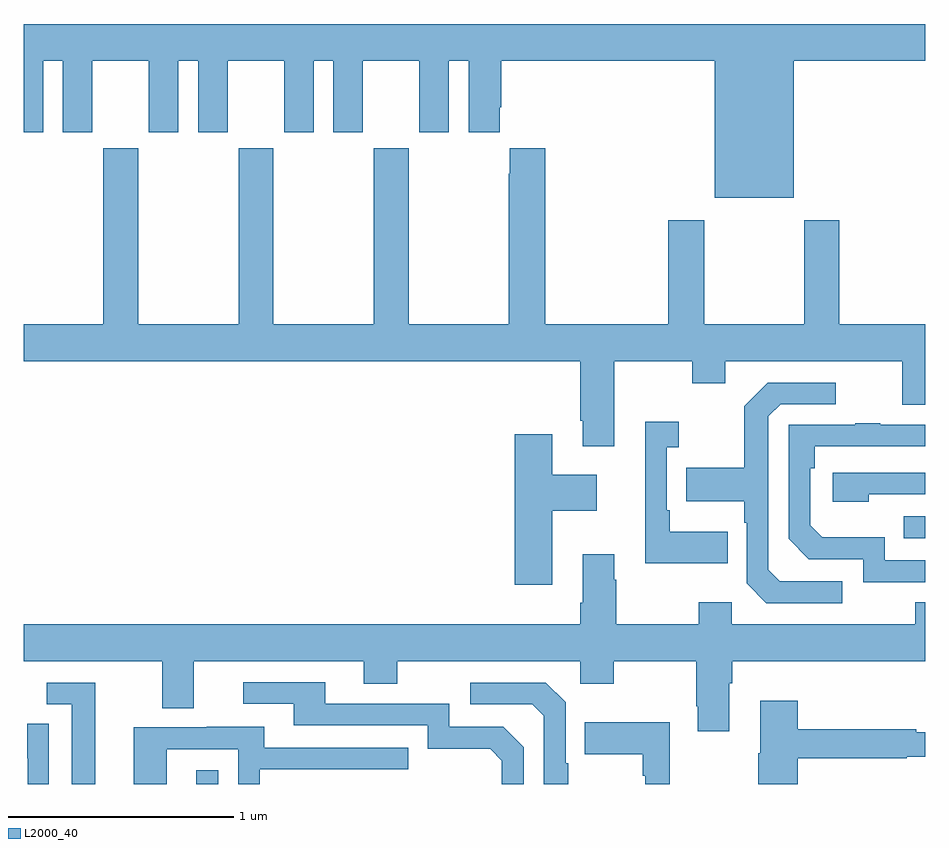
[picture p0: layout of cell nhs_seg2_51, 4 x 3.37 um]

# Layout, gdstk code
import gdstk
lib = gdstk.Library(unit=1e-6, precision=1e-09)
def R(c, l, rs):  # rectangles x0, y0, x1, y1
    for r in rs: c.add(gdstk.rectangle(r[:2], r[2:], *l))
def P(c, l, *ps):  # polygons
    for p in ps: c.add(gdstk.Polygon(p, *l))
L2000_40 = (2000, 40)

nhs_seg2_51 = lib.new_cell('nhs_seg2_51')
R(nhs_seg2_51, L2000_40, [(113.765,605.8,113.862,605.86), (116.905,606.891,117,606.987)])
P(nhs_seg2_51, L2000_40, [(116.416,609.008),(117,609.008),(117,609.172),(113,609.172),(113,608.691),(113.086,608.691),(113.086,609.008),(113.174,609.008),(113.174,608.691),(113.305,608.691),(113.305,609.008),(113.555,609.008),(113.555,608.691),(113.686,608.691),(113.686,609.008),(113.774,609.008),(113.774,608.691),(113.905,608.691),(113.905,609.008),(114.155,609.008),(114.155,608.691),(114.286,608.691),(114.286,609.008),(114.374,609.008),(114.374,608.691),(114.505,608.691),(114.505,609.008),(114.755,609.008),(114.755,608.691),(114.886,608.691),(114.886,609.008),(114.974,609.008),(114.974,608.691),(115.111,608.691),(115.111,608.803),(115.118,608.803),(115.118,609.008),(116.066,609.008),(116.066,608.402),(116.416,608.402)],
  [(115.621,607.676),(115.966,607.676),(115.966,607.577),(116.113,607.577),(116.113,607.676),(116.897,607.676),(116.897,607.482),(117,607.482),(117,607.84),(116.619,607.84),(116.619,608.302),(116.464,608.302),(116.464,607.84),(116.019,607.84),(116.019,608.302),(115.859,608.302),(115.859,607.84),(115.313,607.84),(115.313,608.62),(115.157,608.62),(115.157,608.507),(115.153,608.507),(115.153,607.84),(114.708,607.84),(114.708,608.62),(114.553,608.62),(114.553,607.84),(114.108,607.84),(114.108,608.62),(113.953,608.62),(113.953,607.84),(113.508,607.84),(113.508,608.62),(113.353,608.62),(113.353,607.84),(113,607.84),(113,607.676),(115.469,607.676),(115.469,607.411),(115.481,607.411),(115.481,607.299),(115.621,607.299)],
  [(116.632,606.699),(116.355,606.699),(116.304,606.75),(116.304,607.431),(116.358,607.485),(116.602,607.485),(116.602,607.581),(116.301,607.581),(116.196,607.475),(116.196,607.203),(115.939,607.203),(115.939,607.055),(116.196,607.055),(116.196,606.959),(116.208,606.959),(116.208,606.69),(116.295,606.603),(116.632,606.603)],
  [(116.123,606.919),(115.867,606.919),(115.867,607.015),(115.854,607.015),(115.854,607.295),(115.906,607.295),(115.906,607.408),(115.757,607.408),(115.757,606.779),(116.123,606.779)],
  [(117,606.792),(116.82,606.792),(116.82,606.895),(116.543,606.895),(116.49,606.948),(116.49,607.202),(116.51,607.202),(116.51,607.299),(117,607.299),(117,607.395),(116.801,607.395),(116.801,607.4),(116.689,607.4),(116.689,607.395),(116.394,607.395),(116.394,606.888),(116.484,606.798),(116.724,606.798),(116.724,606.696),(117,606.696)],
  [(115.345,607.013),(115.543,607.013),(115.543,607.171),(115.345,607.171),(115.345,607.351),(115.178,607.351),(115.178,606.684),(115.345,606.684)],
  [(116.75,607.086),(117,607.086),(117,607.182),(116.589,607.182),(116.589,607.052),(116.75,607.052)],
  [(116.131,606.248),(116.144,606.248),(116.144,606.344),(117,606.344),(117,606.607),(116.956,606.607),(116.956,606.508),(116.142,606.508),(116.142,606.607),(115.996,606.607),(115.996,606.508),(115.629,606.508),(115.629,606.707),(115.621,606.707),(115.621,606.82),(115.481,606.82),(115.481,606.604),(115.469,606.604),(115.469,606.508),(113,606.508),(113,606.344),(113.615,606.344),(113.615,606.136),(113.755,606.136),(113.755,606.344),(114.509,606.344),(114.509,606.245),(114.657,606.245),(114.657,606.344),(115.47,606.344),(115.47,606.245),(115.617,606.245),(115.617,606.344),(115.984,606.344),(115.984,606.145),(115.991,606.145),(115.991,606.033),(116.131,606.033)],
  [(115.218,605.964),(115.128,606.054),(114.888,606.054),(114.888,606.156),(114.337,606.156),(114.337,606.252),(113.973,606.252),(113.973,606.156),(114.197,606.156),(114.197,606.06),(114.792,606.06),(114.792,605.957),(115.069,605.957),(115.122,605.904),(115.122,605.8),(115.218,605.8)],
  [(113.317,606.249),(113.103,606.249),(113.103,606.153),(113.213,606.153),(113.213,605.8),(113.317,605.8)],
  [(115.417,605.893),(115.404,605.893),(115.404,606.162),(115.317,606.249),(114.981,606.249),(114.981,606.153),(115.257,606.153),(115.308,606.102),(115.308,605.8),(115.417,605.8)],
  [(116.435,605.914),(116.918,605.914),(116.918,605.922),(117,605.922),(117,606.03),(116.96,606.03),(116.96,606.043),(116.435,606.043),(116.435,606.169),(116.267,606.169),(116.267,605.937),(116.26,605.937),(116.26,605.8),(116.435,605.8)],
  [(115.867,606.073),(115.489,606.073),(115.489,605.933),(115.746,605.933),(115.746,605.837),(115.758,605.837),(115.758,605.8),(115.867,605.8)],
  [(113.112,606.068),(113.016,606.068),(113.016,605.914),(113.018,605.914),(113.018,605.8),(113.112,605.8)],
  [(113.634,605.955),(113.952,605.955),(113.952,605.8),(114.048,605.8),(114.048,605.865),(114.707,605.865),(114.707,605.961),(114.067,605.961),(114.067,606.055),(113.813,606.055),(113.813,606.051),(113.489,606.051),(113.489,605.8),(113.634,605.8)])

lib.write_gds('nhs_seg2_51.gds')
